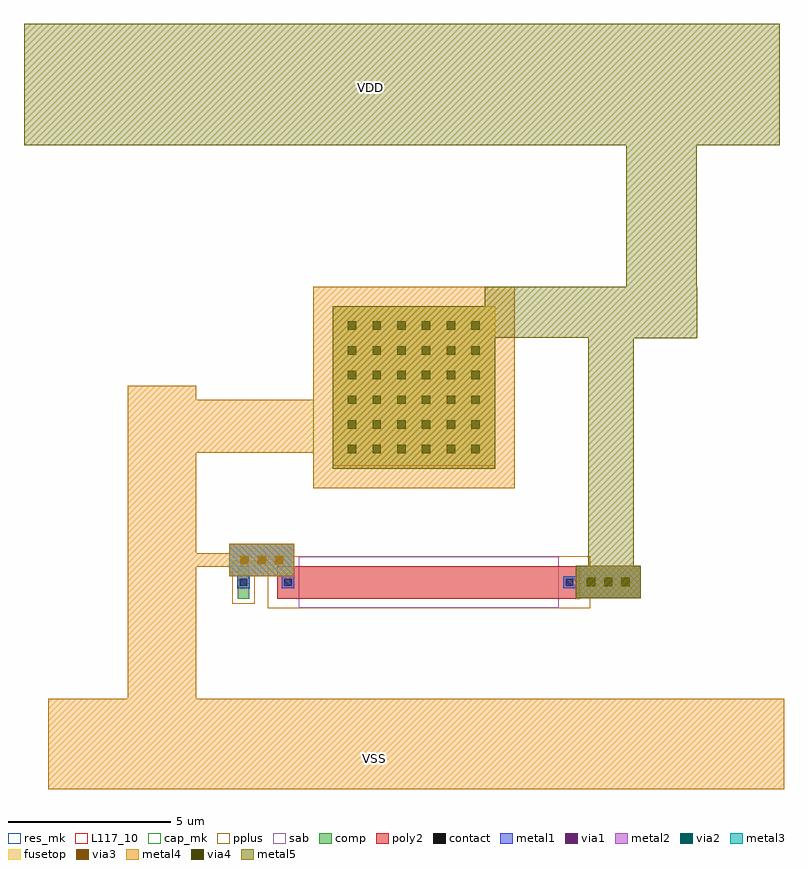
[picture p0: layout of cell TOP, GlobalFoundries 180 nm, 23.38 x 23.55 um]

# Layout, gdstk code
import gdstk
lib = gdstk.Library(unit=1e-6, precision=5e-09)
def R(c, l, rs):  # rectangles x0, y0, x1, y1
    for r in rs: c.add(gdstk.rectangle(r[:2], r[2:], *l))
def A(c, l, x, y, w, h, nx, ny, dx, dy):  # array of equal rectangles
    R(c, l, [(x+i*dx, y+j*dy, x+i*dx+w, y+j*dy+h) for i in range(nx) for j in range(ny)])
comp = (22, 0)
poly2 = (30, 0)
pplus = (31, 0)
contact = (33, 0)
metal1 = (34, 0)
via1 = (35, 0)
metal2 = (36, 0)
via2 = (38, 0)
via3 = (40, 0)
via4 = (41, 0)
metal3 = (42, 0)
metal4 = (46, 0)
sab = (49, 0)
fusetop = (75, 0)
metal5 = (81, 0)
res_mk = (110, 5)
cap_mk = (117, 5)
L117_10 = (117, 10)

cap_mim_1 = lib.new_cell('cap_mim$1')
A(cap_mim_1, via4, 0.47, 0.47, 0.26, 0.26, 6, 6, 0.76, 0.76)
R(cap_mim_1, metal4, [(-0.6,-0.6,5.6,5.6)])
R(cap_mim_1, fusetop, [(0,0,5,5)])
R(cap_mim_1, metal5, [(0,0,5,5)])
R(cap_mim_1, cap_mk, [(-0.6,-0.6,5.6,5.6)])
R(cap_mim_1, L117_10, [(0,0,5,0.1)])

ppolyf_u_resistor = lib.new_cell('ppolyf_u_resistor')
R(ppolyf_u_resistor, comp, [(-1.88,0,-1.52,1)])
R(ppolyf_u_resistor, poly2, [(-0.66,0,8.66,1)])
R(ppolyf_u_resistor, pplus, [(-0.96,-0.3,8.96,1.3), (-2.04,-0.16,-1.36,1.16)])
R(ppolyf_u_resistor, contact, [(-1.81,0.39,-1.59,0.61), (-0.44,0.39,-0.22,0.61), (8.22,0.39,8.44,0.61)])
R(ppolyf_u_resistor, metal1, [(-1.89,0.31,-1.51,0.69), (-0.52,0.31,-0.14,0.69), (8.14,0.31,8.52,0.69)])
R(ppolyf_u_resistor, sab, [(0,-0.28,8,1.28)])
R(ppolyf_u_resistor, res_mk, [(0,0,8,1)])

via_dev = lib.new_cell('via_dev')
R(via_dev, metal1, [(0,0,2,1)])
A(via_dev, via1, 0.34, 0.37, 0.26, 0.26, 3, 1, 0.53, 0)
R(via_dev, metal2, [(0,0,2,1)])
A(via_dev, via2, 0.34, 0.37, 0.26, 0.26, 3, 1, 0.53, 0)
A(via_dev, via3, 0.34, 0.37, 0.26, 0.26, 3, 1, 0.53, 0)
A(via_dev, via4, 0.34, 0.37, 0.26, 0.26, 3, 1, 0.53, 0)
R(via_dev, metal3, [(0,0,2,1)])
R(via_dev, metal4, [(0,0,2,1)])
R(via_dev, metal5, [(0,0,2,1)])

via_dev_1 = lib.new_cell('via_dev$1')
R(via_dev_1, metal1, [(0,0,2,1)])
A(via_dev_1, via1, 0.34, 0.37, 0.26, 0.26, 3, 1, 0.53, 0)
R(via_dev_1, metal2, [(0,0,2,1)])
A(via_dev_1, via2, 0.34, 0.37, 0.26, 0.26, 3, 1, 0.53, 0)
A(via_dev_1, via3, 0.34, 0.37, 0.26, 0.26, 3, 1, 0.53, 0)
R(via_dev_1, metal3, [(0,0,2,1)])
R(via_dev_1, metal4, [(0,0,2,1)])

top = lib.new_cell('TOP')
R(top, metal4, [(-8.14,-9.26,14.485,-6.48), (-5.7,-8.71,-3.585,3.15), (-4.58,-2.415,-1.15,-2), (-4.41,1.085,1.78,2.715)])
R(top, metal5, [(8.465,-3.38,9.86,5.57), (9.635,4.615,11.805,11.875), (5.275,4.625,11.81,6.19), (-8.89,10.55,14.35,14.285)])
top.add(gdstk.Reference(cap_mim_1, (0.6,0.6)))
top.add(gdstk.Reference(ppolyf_u_resistor, (-0.44,-3.395)))
top.add(gdstk.Reference(via_dev, (8.08,-3.38)))
top.add(gdstk.Reference(via_dev_1, (-2.575,-2.705)))
top.add(gdstk.Label('VSS', (1.9,-8.31), layer=46, texttype=10))
top.add(gdstk.Label('VDD', (1.765,12.315), layer=81, texttype=10))

lib.write_gds('TOP.gds')
